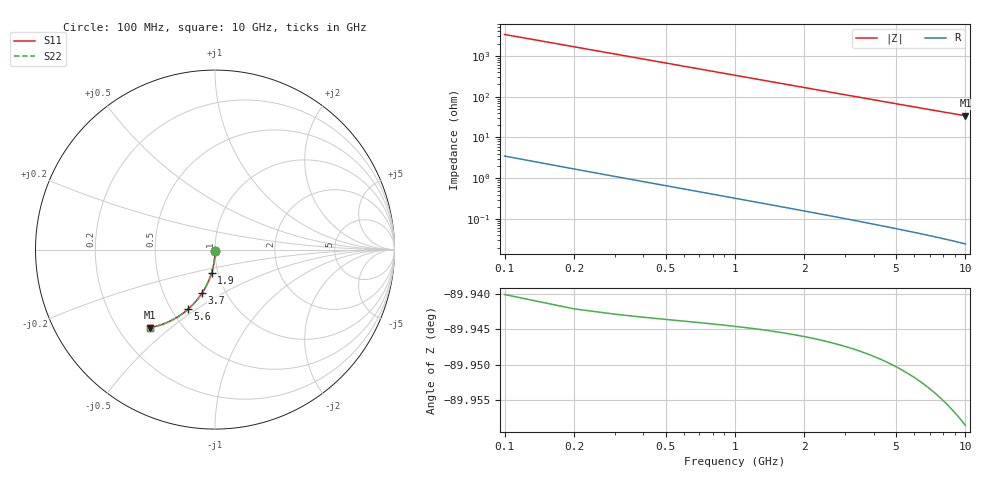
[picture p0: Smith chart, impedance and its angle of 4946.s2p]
# Hz S RI R 50.00
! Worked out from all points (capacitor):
!   100 points, 100 MHz to 10 GHz, reference 50 ohm
!   read as one part in shunt: C = 475 fF near 100 MHz
!   lowest |Z| = 34.1 ohm at 10 GHz (marker M1)
!   S11 on the Smith chart (normalised r, x): 100 MHz: 1.00, -0.01; 1.9 GHz: 0.93, -0.25; 3.7 GHz: 0.78, -0.40; 5.6 GHz: 0.61, -0.46; 10 GHz: 0.33, -0.43
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1e8  0.000338 -0.00701  0.9995 -0.00792  0.9995 -0.00792  0.000338 -0.00701
2e8  0.000167 -0.014  0.9994 -0.0158  0.9994 -0.0158  0.000167 -0.014
3e8  -0.000116 -0.021  0.9991 -0.0238  0.9991 -0.0238  -0.000116 -0.021
4e8  -0.00051 -0.028  0.9987 -0.0317  0.9987 -0.0317  -0.00051 -0.028
5e8  -0.00102 -0.035  0.9982 -0.0396  0.9982 -0.0396  -0.00102 -0.035
6e8  -0.00163 -0.042  0.9975 -0.0474  0.9975 -0.0474  -0.00163 -0.042
8e8  -0.00319 -0.0559  0.996 -0.0632  0.996 -0.0632  -0.00319 -0.0559
9e8  -0.00413 -0.0628  0.995 -0.071  0.995 -0.071  -0.00413 -0.0628
1.1e9  -0.00635 -0.0766  0.9928 -0.0866  0.9928 -0.0866  -0.00635 -0.0766
1.4e9  -0.0105 -0.0971  0.9886 -0.1098  0.9886 -0.1098  -0.0105 -0.0971
1.8e9  -0.0174 -0.1239  0.9816 -0.1403  0.9816 -0.1403  -0.0174 -0.1239
1.9e9  -0.0194 -0.1305  0.9796 -0.1478  0.9796 -0.1478  -0.0194 -0.1305
2.2e9  -0.026 -0.1501  0.973 -0.1701  0.973 -0.1701  -0.026 -0.1501
2.6e9  -0.036 -0.1754  0.9628 -0.1991  0.9628 -0.1991  -0.036 -0.1754
3.4e9  -0.0603 -0.2234  0.9383 -0.2543  0.9383 -0.2543  -0.0603 -0.2234
3.7e9  -0.0708 -0.2403  0.9278 -0.274  0.9278 -0.274  -0.0708 -0.2403
4.4e9  -0.0974 -0.2771  0.9009 -0.3172  0.9009 -0.3172  -0.0974 -0.2771
5.1e9  -0.1269 -0.3102  0.8711 -0.3568  0.8711 -0.3568  -0.1269 -0.3102
5.6e9  -0.1494 -0.3314  0.8484 -0.3826  0.8484 -0.3826  -0.1494 -0.3314
6.7e9  -0.2014 -0.3709  0.7958 -0.4322  0.7958 -0.4322  -0.2014 -0.3709
8.4e9  -0.2852 -0.4133  0.7109 -0.4904  0.7109 -0.4904  -0.2852 -0.4133
1e10  -0.3627 -0.4349  0.6321 -0.527  0.6321 -0.527  -0.3627 -0.4349
